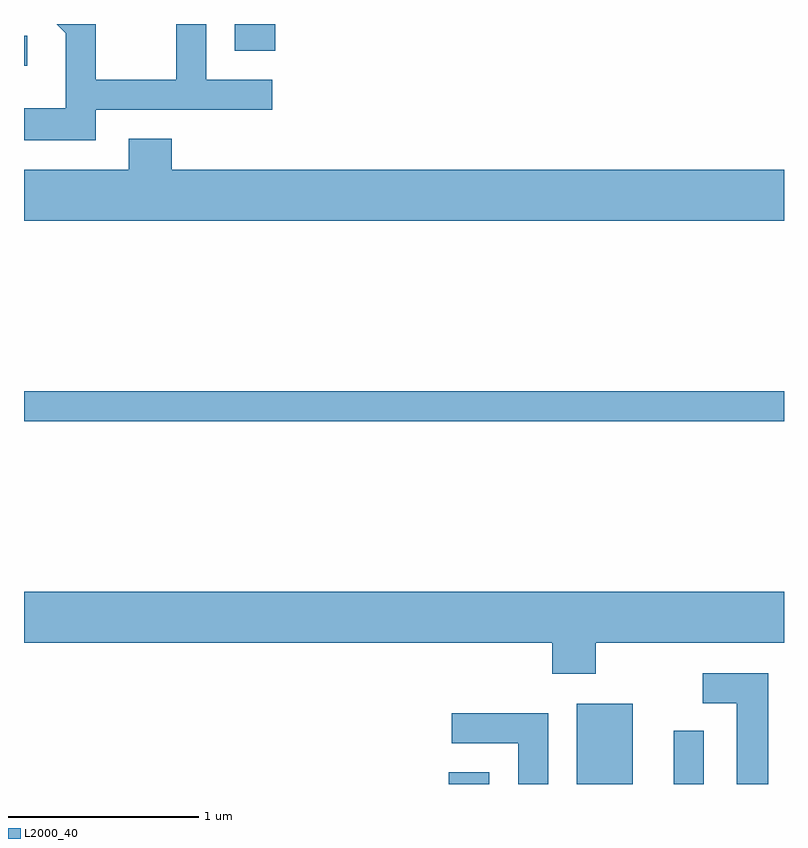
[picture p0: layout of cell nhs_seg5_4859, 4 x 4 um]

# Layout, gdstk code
import gdstk
lib = gdstk.Library(unit=1e-6, precision=1e-09)
def R(c, l, rs):  # rectangles x0, y0, x1, y1
    for r in rs: c.add(gdstk.rectangle(r[:2], r[2:], *l))
def P(c, l, *ps):  # polygons
    for p in ps: c.add(gdstk.Polygon(p, *l))
L2000_40 = (2000, 40)

nhs_seg5_4859 = lib.new_cell('nhs_seg5_4859')
R(nhs_seg5_4859, L2000_40, [(331.846,1436.072,332.059,1436.134), (332.521,1436.072,332.814,1436.494), (333.031,1436.072,333.189,1436.353), (329.611,1437.981,333.611,1438.139), (329.611,1439.851,329.628,1440.009), (330.721,1439.931,330.934,1440.072)])
P(nhs_seg5_4859, L2000_40, [(329.989,1439.621),(330.918,1439.621),(330.918,1439.779),(330.569,1439.779),(330.569,1440.072),(330.411,1440.072),(330.411,1439.779),(329.989,1439.779),(329.989,1440.072),(329.783,1440.072),(329.831,1440.024),(329.831,1439.629),(329.611,1439.629),(329.611,1439.461),(329.989,1439.461)],
  [(333.611,1439.304),(330.389,1439.304),(330.389,1439.469),(330.161,1439.469),(330.161,1439.304),(329.611,1439.304),(329.611,1439.036),(333.611,1439.036)],
  [(332.619,1436.816),(333.611,1436.816),(333.611,1437.084),(329.611,1437.084),(329.611,1436.816),(332.391,1436.816),(332.391,1436.651),(332.619,1436.651)],
  [(333.529,1436.654),(333.183,1436.654),(333.183,1436.496),(333.361,1436.496),(333.361,1436.072),(333.529,1436.072)],
  [(332.369,1436.444),(331.863,1436.444),(331.863,1436.286),(332.211,1436.286),(332.211,1436.072),(332.369,1436.072)])

lib.write_gds('nhs_seg5_4859.gds')
